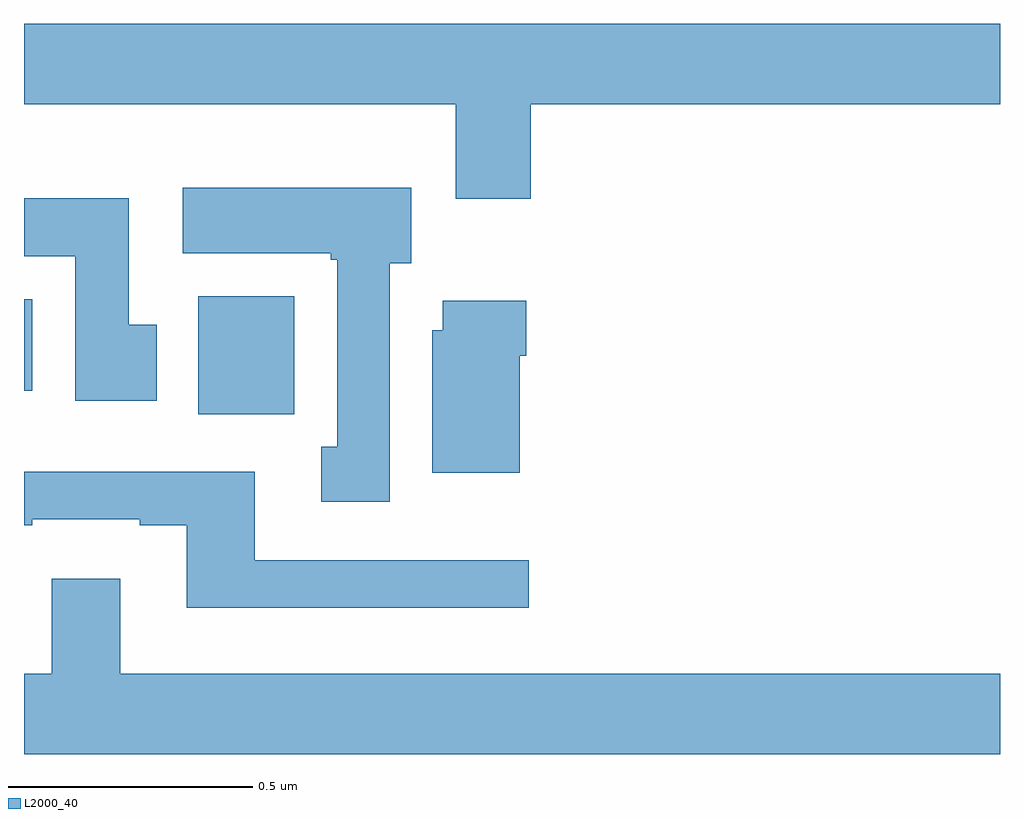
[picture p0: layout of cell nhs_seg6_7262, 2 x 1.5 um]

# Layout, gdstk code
import gdstk
lib = gdstk.Library(unit=1e-6, precision=1e-09)
def R(c, l, rs):  # rectangles x0, y0, x1, y1
    for r in rs: c.add(gdstk.rectangle(r[:2], r[2:], *l))
def P(c, l, *ps):  # polygons
    for p in ps: c.add(gdstk.Polygon(p, *l))
L2000_40 = (2000, 40)

nhs_seg6_7262 = lib.new_cell('nhs_seg6_7262')
R(nhs_seg6_7262, L2000_40, [(206.357,941.372,206.554,941.614), (206,941.42,206.017,941.608)])
P(nhs_seg6_7262, L2000_40, [(207.038,942.008),(208,942.008),(208,942.172),(206,942.172),(206,942.008),(206.885,942.008),(206.885,941.814),(207.038,941.814)],
  [(206.749,941.682),(206.794,941.682),(206.794,941.836),(206.325,941.836),(206.325,941.702),(206.629,941.702),(206.629,941.689),(206.642,941.689),(206.642,941.306),(206.609,941.306),(206.609,941.193),(206.749,941.193)],
  [(206.272,941.556),(206.215,941.556),(206.215,941.815),(206,941.815),(206,941.696),(206.105,941.696),(206.105,941.4),(206.272,941.4)],
  [(207.016,941.492),(207.029,941.492),(207.029,941.605),(206.858,941.605),(206.858,941.544),(206.837,941.544),(206.837,941.252),(207.016,941.252)],
  [(207.034,941.073),(206.473,941.073),(206.473,941.254),(206,941.254),(206,941.145),(206.017,941.145),(206.017,941.157),(206.237,941.157),(206.237,941.145),(206.333,941.145),(206.333,940.976),(207.034,940.976)],
  [(208,940.84),(206.197,940.84),(206.197,941.035),(206.057,941.035),(206.057,940.84),(206,940.84),(206,940.676),(208,940.676)])

lib.write_gds('nhs_seg6_7262.gds')
